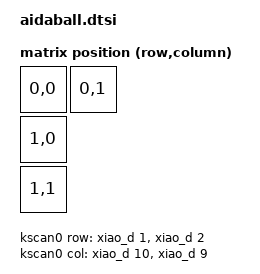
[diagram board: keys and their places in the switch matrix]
#include <dt-bindings/zmk/matrix_transform.h>
#include <input/processors.dtsi>
#include <dt-bindings/zmk/input_transform.h>
#include <physical_layouts.dtsi>

/ {
    chosen {
        //zmk,kscan = &kscan0;
        //zmk,matrix_transform = &default_transform;
        zmk,physical-layout = &aidaball_physical_layout;
    };

   aidaball_physical_layout: aidaball_physical_layout {
        compatible = "zmk,physical-layout";
        display-name = "Default";
        transform = <&default_transform>;
        kscan = <&kscan0>;

        keys  //                     w   h    x    y     rot    rx    ry
            = <&key_physical_attrs 100 100  100    0       0     0     0>
            , <&key_physical_attrs 100 100  200    0       0     0     0>
            , <&key_physical_attrs 100 100  100  100       0     0     0>
            , <&key_physical_attrs 100 100  100  200       0     0     0>
            ;
    };

    default_transform: keymap_transform_0 {
        compatible = "zmk,matrix-transform";
        columns = <2>;
        rows = <2>;
        map = <
            RC(0,0) RC(0,1) 
            RC(1,0) RC(1,1) 
        >;
    };
    
    kscan0: kscan {
        compatible = "zmk,kscan-gpio-matrix";
        label = "KSCAN";
        diode-direction = "col2row";
            row-gpios
                = <&xiao_d 1 (GPIO_ACTIVE_HIGH | GPIO_PULL_DOWN)> 
                , <&xiao_d 2 (GPIO_ACTIVE_HIGH | GPIO_PULL_DOWN)> 
                ;
            col-gpios
                = <&xiao_d 10 GPIO_ACTIVE_HIGH>
                , <&xiao_d 9 GPIO_ACTIVE_HIGH> 
                ; 
    };

    trackball_listener: trackball_listener {
        compatible = "zmk,input-listener";
        status = "disabled";
        input-processors = 
            //<&zip_xy_transform INPUT_TRANSFORM_XY_SWAP>,  //カーソル移動のXとYを入れ替える
            <&zip_xy_scaler 1 4>;                           //カーソル移動量を1/4倍に変更
    };
};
